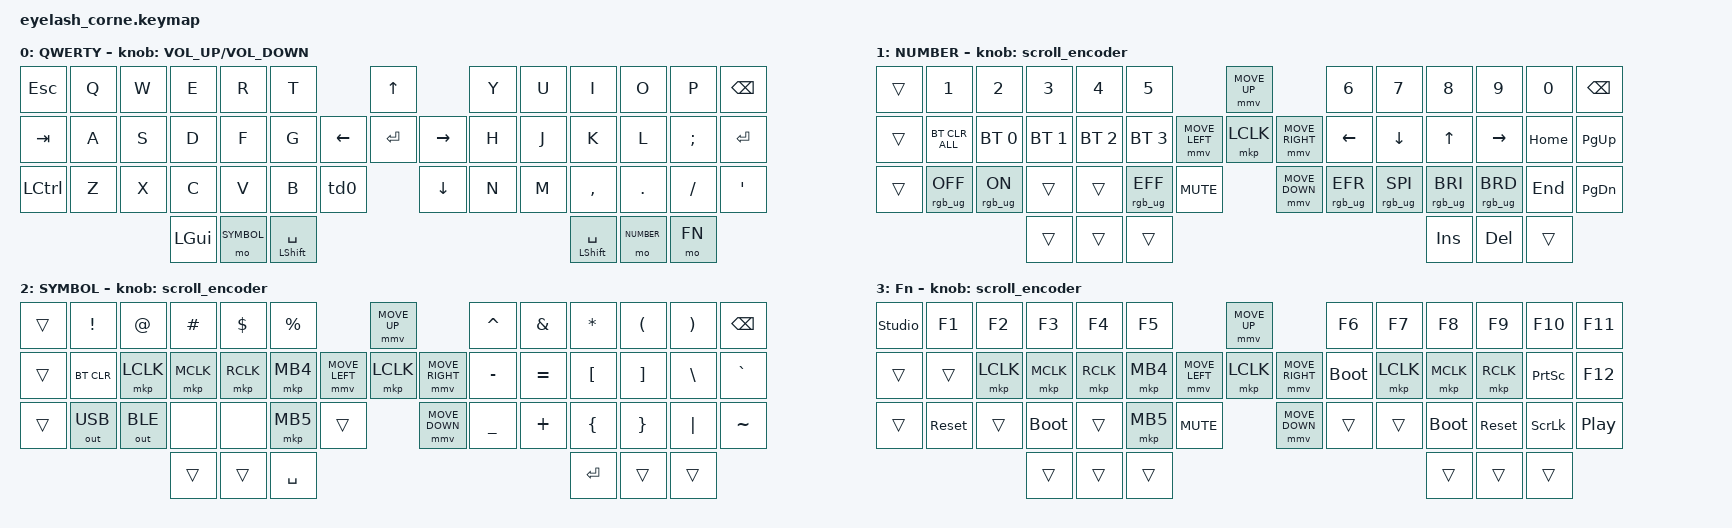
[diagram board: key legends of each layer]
#include <behaviors.dtsi>
#include <dt-bindings/zmk/bt.h>
#include <dt-bindings/zmk/keys.h>
#include <dt-bindings/zmk/mouse.h>
#include <dt-bindings/zmk/outputs.h>
#include <dt-bindings/zmk/rgb.h>

#include <input/processors.dtsi>

/*

   &mmv_input_listener {
       input-processors = <&zip_xy_scaler 2 1>;
   };

   &msc_input_listener {
       input-processors = <&zip_xy_scaler 2 1>;
   };

 */

#define ZMK_MOUSE_DEFAULT_MOVE_VAL 1200  // 600
#define ZMK_MOUSE_DEFAULT_SCRL_VAL 20    // 10
#define QWERTY 0
#define NUMBER 1
#define SYMBOL 2
#define FN     3

/ {
    behaviors {
        td0: td0 {
            compatible = "zmk,behavior-tap-dance";
            display-name = "Shift/Caps Lock Tap Dance";
            #binding-cells = <0>;
            bindings = <&kp LEFT_SHIFT>, <&kp CAPS>;
        };
    };

    rgb_encoder: rgb_encoder {
        compatible = "zmk,behavior-sensor-rotate";
        #sensor-binding-cells = <0>;
        bindings = <&rgb_ug RGB_BRI>, <&rgb_ug RGB_BRD>;
    };

    scroll_encoder: scroll_encoder {
        compatible = "zmk,behavior-sensor-rotate";
        #sensor-binding-cells = <0>;
        bindings = <&msc SCRL_DOWN>, <&msc SCRL_UP>;
        tap-ms = <30>;
    };

    keymap {
        compatible = "zmk,keymap";

        default_layer {
            display-name = "QWERTY";
            bindings = <
&kp ESC    &kp Q  &kp W      &kp E     &kp R  &kp T                              &kp UP                &kp Y        &kp U  &kp I      &kp O    &kp P     &kp BSPC
&kp TAB    &kp A  &kp S      &kp D     &kp F  &kp G                    &kp LEFT  &kp ENTER  &kp RIGHT  &kp H        &kp J  &kp K      &kp L    &kp SEMI  &kp ENTER
&kp LCTRL  &kp Z  &kp X      &kp C     &kp V  &kp B       &td0                   &kp DOWN              &kp N        &kp M  &kp COMMA  &kp DOT  &kp FSLH  &kp SQT
                             &kp LGUI  &mo SYMBOL  &mt LSHIFT SPACE                                              &mt LSHIFT SPACE  &mo NUMBER  &mo FN
            >;
            sensor-bindings = <&inc_dec_kp C_VOLUME_UP C_VOLUME_DOWN>;
        };

        lower_layer {
            display-name = "NUMBER";
            bindings = <
&trans  &kp N1           &kp N2          &kp N3        &kp N4        &kp N5                                        &mmv MOVE_UP                     &kp N6           &kp N7           &kp N8           &kp N9           &kp N0    &kp BSPC
&trans  &bt BT_CLR_ALL   &bt BT_SEL 0    &bt BT_SEL 1  &bt BT_SEL 2  &bt BT_SEL 3                           &mmv MOVE_LEFT  &mkp LCLK       &mmv MOVE_RIGHT  &kp LEFT         &kp DOWN         &kp UP           &kp RIGHT        &kp HOME  &kp PG_UP
&trans  &rgb_ug RGB_OFF  &rgb_ug RGB_ON  &trans        &trans        &rgb_ug RGB_EFF &kp C_MUTE                    &mmv MOVE_DOWN                   &rgb_ug RGB_EFR  &rgb_ug RGB_SPI  &rgb_ug RGB_BRI  &rgb_ug RGB_BRD  &kp END   &kp PG_DN
                                         &trans        &trans        &trans                                                                         &kp INS          &kp DEL          &trans
            >;
            sensor-bindings = <&scroll_encoder>;
        };

        raise_layer {
            display-name = "SYMBOL";
            bindings = <
&trans  &kp EXCL      &kp AT        &kp HASH   &kp DLLR   &kp PRCNT                           &mmv MOVE_UP                     &kp CARET  &kp AMPS   &kp ASTRK  &kp LPAR  &kp RPAR  &kp BSPC
&trans  &bt BT_CLR    &mkp LCLK     &mkp MCLK  &mkp RCLK  &mkp MB4            &mmv MOVE_LEFT  &mkp LCLK       &mmv MOVE_RIGHT  &kp MINUS  &kp EQUAL  &kp LBKT   &kp RBKT  &kp BSLH  &kp GRAVE
&trans  &out OUT_USB  &out OUT_BLE  &none      &none      &mkp MB5  &trans                    &mmv MOVE_DOWN                   &kp UNDER  &kp PLUS   &kp LBRC   &kp RBRC  &kp PIPE  &kp TILDE
                                    &trans     &trans     &kp SPACE                                                            &kp RET    &trans     &trans
            >;
            sensor-bindings = <&scroll_encoder>;
        };

        layer_3 {
            display-name = "Fn";
            bindings = <
&studio_unlock   &kp F1      &kp F2      &kp F3       &kp F4     &kp F5                                  &mmv MOVE_UP                     &kp F6       &kp F7     &kp F8       &kp F9      &kp F10          &kp F11
&trans  &trans      &mkp LCLK   &mkp MCLK    &mkp RCLK  &mkp MB4                &mmv MOVE_LEFT  &mkp LCLK       &mmv MOVE_RIGHT  &bootloader  &mkp LCLK  &mkp MCLK    &mkp RCLK   &kp PRINTSCREEN  &kp F12
&trans  &sys_reset  &trans      &bootloader  &trans     &mkp MB5  &kp C_MUTE                    &mmv MOVE_DOWN                   &trans       &trans     &bootloader  &sys_reset  &kp SCROLLLOCK   &kp C_PLAY_PAUSE
                                &trans      &trans      &trans                                                                   &trans       &trans     &trans
            >;
            sensor-bindings = <&scroll_encoder>;
        };
    };
};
